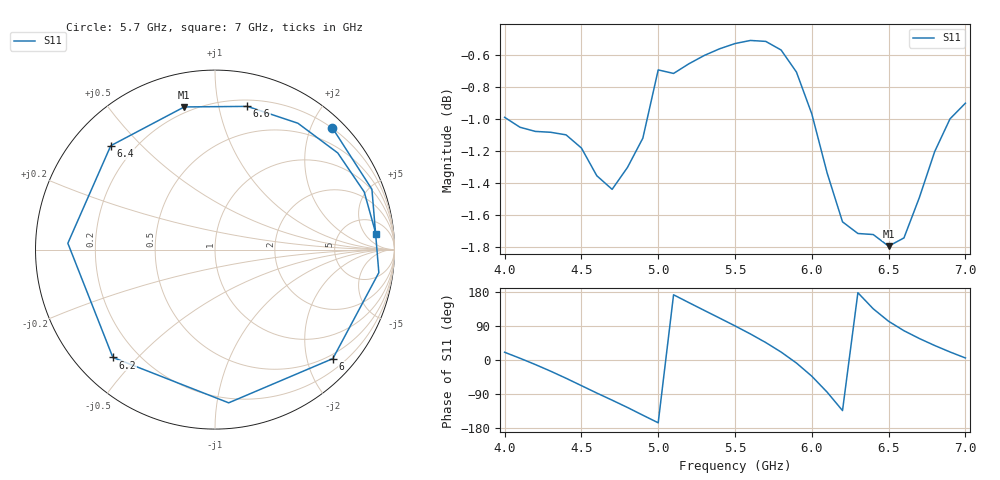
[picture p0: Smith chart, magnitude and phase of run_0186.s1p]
! Touchstone file exported from HFSS 2024.2.0
!  File:  C:/Users/wsak9/Desktop/Sim Fast/Widenad Patch/WP_AI_V1_sweep.aedt
!  Generated:  10:42:50 PM Oct 13, 2026
!  Design:  A1_model
!  Project:  WP_AI_V1_sweep
!  Setup:  Setup1
!  Solution:  Sweep
! Variables:
!  Air_gap = 2.26mm
!  Curve_Amp1 = 0.99
!  Curve_len1 = 1
!  Curve_pos = 10.18mm
!  Extra = 7.99mm
!  H_sub = 0.79mm
!  L_Patch = 16.36mm
!  L_Patch1 = 23.76mm
!  Sx = 2.61mm
!  Sy = 0.93mm
!  WS = 0.89mm
!  W_Patch = 10.73mm
!  W_Patch1 = 15.77mm
!Data is not renormalized
# GHz S MA
! Terminal data exported
! Port[1] = 1
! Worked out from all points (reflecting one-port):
!   31 points, 4 GHz to 7 GHz, reference per port
!   lowest |S11| = -1.8 dB at 6.5 GHz (marker M1), VSWR 9.70
!   phase of S11 starts at 20 deg and turns -735 deg over the sweep
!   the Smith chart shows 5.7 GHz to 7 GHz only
!   S11 on the Smith chart (normalised r, x): 5.7 GHz: 0.19, +2.34; 6 GHz: 0.41, -2.50; 6.2 GHz: 0.11, -0.43; 6.4 GHz: 0.12, +0.41; 6.6 GHz: 0.25, +1.22; 7 GHz: 11, +10
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4  0.8922 20.5
4.2  0.8832 -12.0
4.3  0.8827 -29.6
4.4  0.881 -48.2
4.5  0.8727 -67.7
4.6  0.8555 -87.2
4.8  0.8606 -125.3
5  0.9232 -165.7
5.1  0.9209 172.1
5.2  0.9273 151.3
5.3  0.9329 130.9
5.4  0.9374 110.6
5.5  0.9409 90.0
5.6  0.943 68.8
5.7  0.9424 46.1
5.8  0.9366 21.0
5.9  0.9218 -8.0
6  0.8944 -42.8
6.1  0.8571 -84.9
6.2  0.8275 -133.5
6.3  0.8206 177.5
6.4  0.82 135.1
6.5  0.8131 102.2
6.6  0.818 77.3
6.7  0.8421 56.7
6.8  0.8705 38.2
6.9  0.8913 21.1
7  0.9013 5.4
